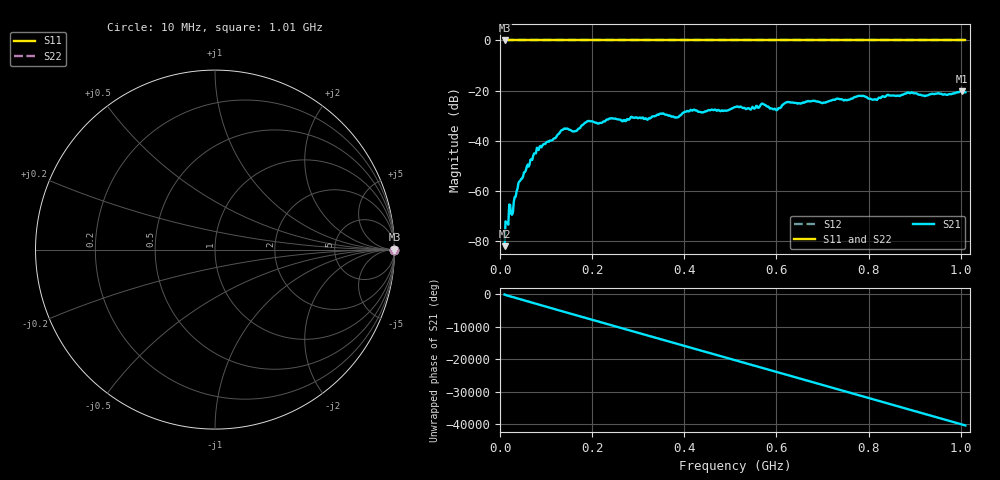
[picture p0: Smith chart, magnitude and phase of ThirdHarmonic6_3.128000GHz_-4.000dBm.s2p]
! 8/17/2025 9:18:05 AM
! C:\ANRITSUVNA\TEMP\TEMP.S2P
! CHANNEL.1
! TR.MEASUREMENT
! RAW.DATA
! RF.CORRECTION.OFF
! AVERAGING.OFF
! IF.BANDWIDTH: 5KHZ
! SWEEPTYPE:  FREQ.SWEEP(Linear)
! Reference Plane Port Info
! PORT:  PORT1  PORT2
! DISTANCE:  0  m  0  m
! TIME:  0  s  0  s
! PHASE.OFFSET:  0  deg.  0  deg.
! LOSS:  0  dB  0  dB
! REF.LOSS:  0  dB  0  dB
! REF.FREQ:  0  Hz  0  Hz
! Power Info
! POWER:  -20  dBm  -20  dBm
! EFF.POWER:  -20  dBm  -20  dBm
! SOURCE.ATTEN:  0  dB  0  dB
! TEST.ATTEN:  0  dB  0  dB
# GHZ S RI R 50.0
! FREQ.GHZ  S11RE  S11IM  S21RE  S21IM  S12RE  S12IM  S22RE  S22IM
!; PortSelection: Port_12
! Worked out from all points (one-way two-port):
!   501 points, 10 MHz to 1.01 GHz, reference 50 ohm
!   highest |S21| = -20.19 dB at 1.002 GHz (marker M1); lowest = -81.9 dB at 10 MHz (marker M2)
!   lowest |S11| = 0.0 dB at 10 MHz (marker M3)
!   |S11| at or under -10 dB: nowhere
!   |S22| runs from 0.0 to 0.0 dB; largest |S21 - S12| = 1.1
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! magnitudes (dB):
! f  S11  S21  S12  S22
! 10 MHz  0.0  -81.9  0.0  0.0
! 18 MHz  0.0  -73.4  0.0  0.0
! 28 MHz  0.0  -68.5  0.0  0.0
! 42 MHz  0.0  -56.2  0.0  0.0
! 76 MHz  0.0  -45.0  0.0  0.0
! 136 MHz  0.0  -35.6  0.0  0.0
! 162 MHz  0.0  -36.2  0.0  0.0
! 178 MHz  0.0  -33.8  0.0  0.0
! 192 MHz  0.0  -32.1  0.0  0.0
! 322 MHz  0.0  -31.2  0.0  0.0
! 344 MHz  0.0  -29.7  0.0  0.0
! 384 MHz  0.0  -30.7  0.0  0.0
! 416 MHz  0.0  -27.9  0.0  0.0
! 510 MHz  0.0  -26.6  0.0  0.0
! 570 MHz  0.0  -25.2  0.0  0.0
! 598 MHz  0.0  -27.4  0.0  0.0
! 624 MHz  0.0  -24.5  0.0  0.0
! 678 MHz  0.0  -24.1  0.0  0.0
! 814 MHz  0.0  -23.4  0.0  0.0
! 844 MHz  0.0  -21.9  0.0  0.0
! 1.002 GHz  0.0  -20.2  0.0  0.0
! 1.01 GHz  0.0  -20.6  0.0  0.0
